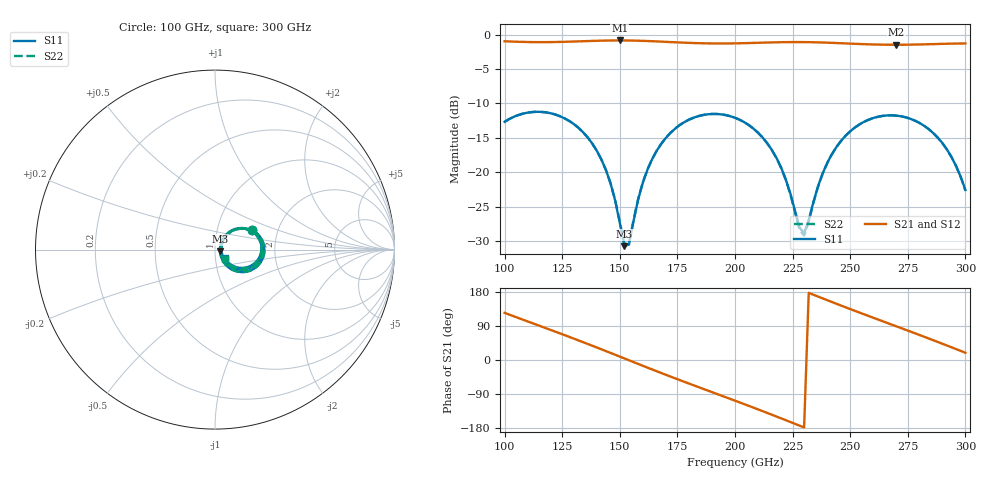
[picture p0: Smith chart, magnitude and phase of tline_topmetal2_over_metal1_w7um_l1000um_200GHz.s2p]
#  GHZ S DB R 50
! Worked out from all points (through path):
!   101 points, 100 GHz to 300 GHz, reference 50 ohm
!   highest |S21| = -0.84 dB at 150 GHz (marker M1); lowest = -1.5 dB at 270 GHz (marker M2)
!   group delay of S21, straight-line fit = 6.48 ps
!   lowest |S11| = -30.7 dB at 152 GHz (marker M3), VSWR 1.06, Z = 52.8 - j1.03 ohm
!   |S11| at or under -10 dB: start of sweep to end of sweep
!   |S22| runs from -30.4 to -11.2 dB; largest |S21 - S12| = 1.5e-13
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100  -12.66 28.2  -0.96 124.5  -0.96 124.5  -12.66 28.0
118  -11.30 -8.1  -1.09 83.8  -1.09 83.8  -11.30 -8.3
134  -14.16 -39.8  -0.96 47.2  -0.96 47.2  -14.15 -39.9
144  -19.69 -55.0  -0.86 23.4  -0.86 23.4  -19.68 -54.8
150  -27.33 -44.7  -0.84 8.9  -0.84 8.9  -27.21 -43.9
152  -30.73 -19.5  -0.85 4.1  -0.85 4.1  -30.43 -18.9
154  -30.49 21.7  -0.85 -0.8  -0.85 -0.8  -30.17 20.6
158  -23.90 52.6  -0.88 -10.4  -0.88 -10.4  -23.82 51.3
162  -19.62 53.6  -0.93 -20.1  -0.93 -20.1  -19.59 52.6
168  -15.86 45.6  -1.01 -34.3  -1.01 -34.3  -15.84 44.8
184  -11.85 15.3  -1.24 -71.2  -1.24 -71.2  -11.84 14.5
200  -12.08 -16.1  -1.26 -107.3  -1.26 -107.3  -12.08 -17.0
216  -16.76 -44.1  -1.13 -144.4  -1.13 -144.4  -16.77 -45.3
230  -28.84 8.6  -1.08 -178.0  -1.08 -178.0  -29.17 8.3
234  -24.35 45.2  -1.11 172.4  -1.11 172.4  -24.46 45.6
240  -18.66 50.2  -1.16 158.0  -1.16 158.0  -18.68 50.1
248  -14.68 39.4  -1.27 139.1  -1.27 139.1  -14.69 39.1
258  -12.36 21.2  -1.41 116.1  -1.41 116.1  -12.36 20.6
268  -11.72 1.9  -1.47 93.5  -1.47 93.5  -11.72 1.2
270  -11.76 -1.9  -1.47 88.9  -1.47 88.9  -11.76 -2.7
288  -14.96 -34.8  -1.36 47.6  -1.36 47.6  -14.96 -35.9
300  -22.56 -41.5  -1.28 19.1  -1.28 19.1  -22.63 -43.1
